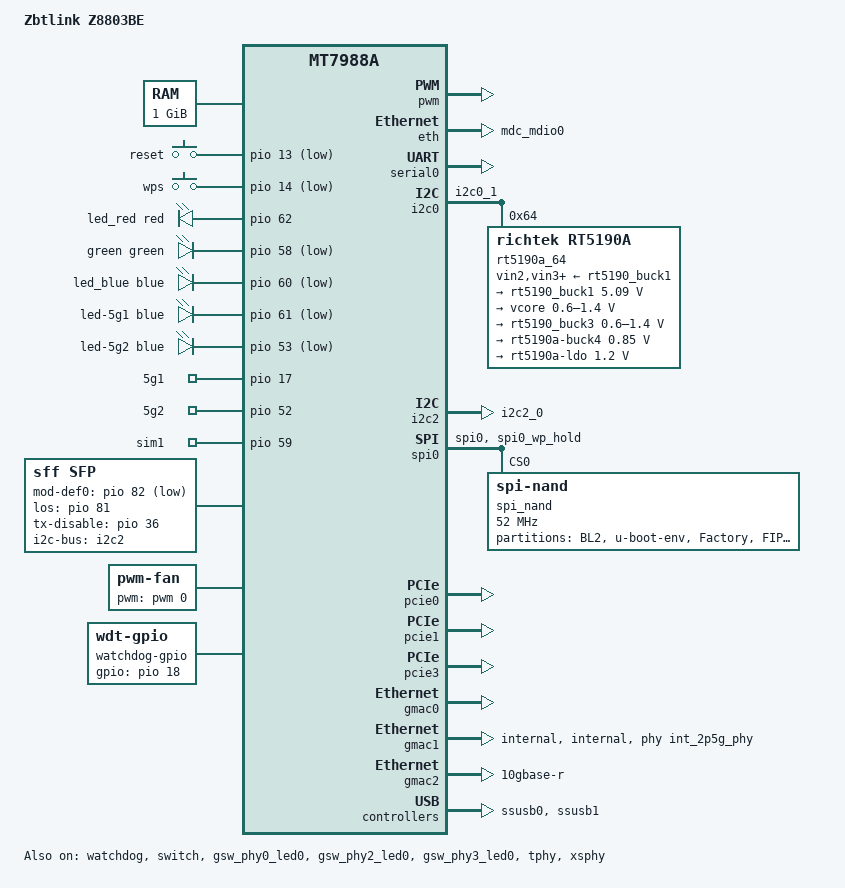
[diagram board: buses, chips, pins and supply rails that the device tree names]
// SPDX-License-Identifier: (GPL-2.0 OR MIT)

/dts-v1/;
#include "mt7988a.dtsi"
#include <dt-bindings/input/input.h>
#include <dt-bindings/gpio/gpio.h>
#include <dt-bindings/leds/common.h>
#include <dt-bindings/pinctrl/mt65xx.h>
#include <dt-bindings/regulator/richtek,rt5190a-regulator.h>

/ {
	model = "Zbtlink Z8803BE";
	compatible = "zbtlink,zbt-z8803be", "mediatek,mt7988a";

	chosen {
		bootargs = "console=ttyS0,115200n1 earlycon=uart8250,mmio32,0x11000000 pci=pcie_bus_perf";
	};

	aliases {
		led-boot = &led_blue;
		led-failsafe = &led_red;
		led-running = &led_blue;
		led-upgrade = &led_blue;
		label-mac-device = &gmac0;
	};

	memory@40000000 {
		device_type = "memory";
		reg = <0 0x40000000 0 0x40000000>;
	};

	gpio-keys {
		compatible = "gpio-keys";

		reset {
			label = "reset";
			linux,code = <KEY_RESTART>;
			gpios = <&pio 13 GPIO_ACTIVE_LOW>;
		};

		wps {
			label = "wps";
			linux,code = <KEY_WPS_BUTTON>;
			gpios = <&pio 14 GPIO_ACTIVE_LOW>;
		};
	};

	gpio-leds {
		compatible = "gpio-leds";

		led_red: red {
			color = <LED_COLOR_ID_RED>;
			function = LED_FUNCTION_STATUS;
			gpios = <&pio 62 GPIO_ACTIVE_HIGH>;
			default-state = "off";
		};

		green {
			color = <LED_COLOR_ID_GREEN>;
			function = LED_FUNCTION_WAN;
			gpios = <&pio 58 GPIO_ACTIVE_LOW>;
			default-state = "off";
		};

		led_blue: blue {
			color = <LED_COLOR_ID_BLUE>;
			function = LED_FUNCTION_POWER;
			gpios = <&pio 60 GPIO_ACTIVE_LOW>;
			linux,default-trigger = "default-on";
		};

		/*
		 * Front-panel cellular status LEDs. Front-panel silk screens
		 * read "5G1" and "5G2", matching the two M.2 Key-B modem slots.
		 * LEDs are active-low and left at "off" by default; the kernel's
		 * netdev trigger (wired up from hotplug/net on the modem
		 * interface) turns them solid on link and blinks on traffic.
		 */
		led-5g1 {
			color = <LED_COLOR_ID_BLUE>;
			function = LED_FUNCTION_MOBILE;
			function-enumerator = <1>;
			gpios = <&pio 61 GPIO_ACTIVE_LOW>;
			default-state = "off";
		};

		led-5g2 {
			color = <LED_COLOR_ID_BLUE>;
			function = LED_FUNCTION_MOBILE;
			function-enumerator = <2>;
			gpios = <&pio 53 GPIO_ACTIVE_LOW>;
			default-state = "off";
		};
	};

	gpio-export {
		compatible = "gpio-export";
		#size-cells = <0>;

		/*
		 * The two M.2 Key-B modem slots (front-panel labels "5G1" /
		 * "5G2") get their Vbat from a board-side power-enable that the
		 * SoC drives on GPIO17 / GPIO52. The pin is active-high; left at
		 * 0 the slot is dead and any modem inserted into it never
		 * enumerates on USB. Default both modem slots to powered-off for
		 * the 3FL wired-WAN deployment. Pre-flash power state is irrelevant: u-boot
		 * doesn't drive these pins.
		 *
		 * GPIO names match the front-panel silk so `/sys/class/gpio/5g1`
		 * and the matching mobile LED nodes stay in lockstep for
		 * userspace tooling (qmodem modem-slot, LuCI "Switches" panel,
		 * hotplug-driven LED wiring).
		 */
		modem0 {
			gpio-export,name = "5g1";
			gpio-export,output = <0>;
			gpios = <&pio 17 GPIO_ACTIVE_HIGH>;
		};
		modem1 {
			gpio-export,name = "5g2";
			gpio-export,output = <0>;
			gpios = <&pio 52 GPIO_ACTIVE_HIGH>;
		};
		/*
		 * On-board SIM mux. The Z8803BE has two physical SIM card
		 * holders (front-panel silk "SIM1" / "SIM2") but only one is
		 * routed to the active modem at any given time. GPIO 59 picks:
		 *   value 1 -> SIM1 card routed through (default, matches the
		 *              vendor's factory wiring and most single-SIM
		 *              deployments)
		 *   value 0 -> SIM2 card routed through
		 * Named "sim1" after the default-selected holder so the sysfs
		 * node (/sys/class/gpio/sim1) matches the LuCI Switches label
		 * exposed by board.d/03_gpio_switches.
		 */
		sim {
			gpio-export,name = "sim1";
			gpio-export,output = <1>;
			gpios = <&pio 59 GPIO_ACTIVE_HIGH>;
		};
	};

	sfp: sfp@0 {
		compatible = "sff,sfp";
		i2c-bus = <&i2c2>;
		mod-def0-gpios = <&pio 82 GPIO_ACTIVE_LOW>;
		los-gpios = <&pio 81 GPIO_ACTIVE_HIGH>;
		tx-disable-gpios = <&pio 36 GPIO_ACTIVE_HIGH>;
		maximum-power-milliwatt = <3000>;
	};

	fan: pwm-fan {
		compatible = "pwm-fan";
		#cooling-cells = <2>;
		cooling-levels = <0 60 80 112 144 176 216 255>;
		pwms = <&pwm 0 10000 0>;
		status = "okay";
	};

	watchdog-gpio {
		compatible = "linux,wdt-gpio";
		gpios = <&pio 18 GPIO_ACTIVE_HIGH>;
		hw_algo = "toggle";
		hw_margin_ms = <60000>;
		always-running;
		status = "okay";
	};
};

&cpu0 {
	proc-supply = <&rt5190_buck3>;
};

&cpu1 {
	proc-supply = <&rt5190_buck3>;
};

&cpu2 {
	proc-supply = <&rt5190_buck3>;
};

&cpu3 {
	proc-supply = <&rt5190_buck3>;
};

&cci {
	proc-supply = <&rt5190_buck3>;
};

&pwm {
	status = "okay";
};

&eth {
	pinctrl-names = "default";
	pinctrl-0 = <&mdio0_pins>;
	status = "okay";
};

&watchdog {
	status = "okay";
};

&serial0 {
	status = "okay";
};

&i2c1 {
	status = "disabled";
};

&i2c0 {
	pinctrl-names = "default";
	pinctrl-0 = <&i2c0_pins>;
	status = "okay";

	rt5190a_64: rt5190a@64 {
		compatible = "richtek,rt5190a";
		reg = <0x64>;
		vin2-supply = <&rt5190_buck1>;
		vin3-supply = <&rt5190_buck1>;
		vin4-supply = <&rt5190_buck1>;

		regulators {
			rt5190_buck1: buck1 {
				regulator-name = "rt5190a-buck1";
				regulator-min-microvolt = <5090000>;
				regulator-max-microvolt = <5090000>;
				regulator-allowed-modes =
					<RT5190A_OPMODE_AUTO RT5190A_OPMODE_FPWM>;
				regulator-boot-on;
				regulator-always-on;
			};

			buck2 {
				regulator-name = "vcore";
				regulator-min-microvolt = <600000>;
				regulator-max-microvolt = <1400000>;
				regulator-boot-on;
				regulator-always-on;
			};

			rt5190_buck3: buck3 {
				regulator-name = "vproc";
				regulator-min-microvolt = <600000>;
				regulator-max-microvolt = <1400000>;
				regulator-boot-on;
			};

			buck4 {
				regulator-name = "rt5190a-buck4";
				regulator-min-microvolt = <850000>;
				regulator-max-microvolt = <850000>;
				regulator-allowed-modes =
					<RT5190A_OPMODE_AUTO RT5190A_OPMODE_FPWM>;
				regulator-boot-on;
				regulator-always-on;
			};

			ldo {
				regulator-name = "rt5190a-ldo";
				regulator-min-microvolt = <1200000>;
				regulator-max-microvolt = <1200000>;
				regulator-boot-on;
				regulator-always-on;
			};
		};
	};
};

&i2c2 {
	pinctrl-names = "default";
	pinctrl-0 = <&i2c2_0_pins>;
	status = "okay";
};

&spi0 {
	pinctrl-names = "default";
	pinctrl-0 = <&spi0_flash_pins>;
	status = "okay";

	spi_nand: spi_nand@0 {
		compatible = "spi-nand";
		reg = <0>;
		spi-max-frequency = <52000000>;
		spi-tx-bus-width = <4>;
		spi-rx-bus-width = <4>;
		mediatek,nmbm;
		mediatek,bmt-max-ratio = <1>;
		mediatek,bmt-max-reserved-blocks = <64>;
	};
};

&spi_nand {
	partitions {
		compatible = "fixed-partitions";
		#address-cells = <1>;
		#size-cells = <1>;

		partition@0 {
			label = "BL2";
			reg = <0x00000 0x0100000>;
			read-only;
		};

		partition@100000 {
			label = "u-boot-env";
			reg = <0x100000 0x80000>;
		};

		factory: partition@180000 {
			label = "Factory";
			reg = <0x180000 0x400000>;
			nvmem-layout {
				compatible = "fixed-layout";
				#address-cells = <1>;
				#size-cells = <1>;

				eeprom_factory_0: eeprom@0 {
					reg = <0x0 0x1e00>;
				};

				gmac0_mac: eeprom@ffff4 {
					reg = <0xffff4 0x6>;
				};

				gmac1_mac: eeprom@ffffa {
					reg = <0xffffa 0x6>;
				};

				gmac2_mac: eeprom@fffee {
					reg = <0xfffee 0x6>;
				};
			};
		};

		partition@580000 {
			label = "FIP";
			reg = <0x580000 0x200000>;
		};

		partition@780000 {
			label = "ubi";
			reg = <0x780000 0x7080000>;
			compatible = "linux,ubi";

			volumes {
				ubi_rootfs: ubi-volume-fit {
					volname = "firmware";
				};
			};
		};
	};
};

&pcie0 {
	status = "okay";

	pcie@0,0 {
		reg = <0x0000 0 0 0 0>;
		#address-cells = <3>;
		#size-cells = <2>;

		mt7996@0,0 {
			reg = <0x0000 0 0 0 0>;
			nvmem-cell-names = "eeprom";
			nvmem-cells = <&eeprom_factory_0>;
		};
	};
};

&pcie1 {
	status = "okay";
};

&pcie3 {
	status = "okay";

	/*
	 * The MediaTek Gen3 PCIe driver handles wifi-reset-gpios.
	 * Keep it on &pcie3, NOT on &pcie0 where the MT7996 endpoint is
	 * enumerated.
	 *
	 * On MT7988A the PCIe controllers are at:
	 *   pcie2 @ 0x11280000   (disabled on this board)
	 *   pcie3 @ 0x11290000   <-- probes BEFORE pcie0 (lower address)
	 *   pcie0 @ 0x11300000   (hosts the MT7996 endpoint)
	 *   pcie1 @ 0x11310000
	 *
	 * The reset GPIO must fire during pcie3 init so that the MT7996 is
	 * out of reset by the time pcie0 later probes and enumerates it.
	 * Moving this line to &pcie0 (as done by other MT7988A boards such
	 * as mt7988d-keenetic-kn-1812.dtsi) causes MT7996 enumeration to
	 * race the reset on this board and the radio fails to train.
	 */
	wifi-reset-gpios = <&pio 7 GPIO_ACTIVE_LOW>;
	wifi-reset-msleep = <100>;
};

&gmac0 {
	nvmem-cell-names = "mac-address";
	nvmem-cells = <&gmac0_mac>;
	status = "okay";
};

&gmac1 {
	phy-mode = "internal";
	phy-connection-type = "internal";
	phy = <&int_2p5g_phy>;
	nvmem-cell-names = "mac-address";
	nvmem-cells = <&gmac1_mac>;
	status = "okay";
};

&gmac2 {
	sfp = <&sfp>;
	managed = "in-band-status";
	phy-mode = "10gbase-r";
	nvmem-cell-names = "mac-address";
	nvmem-cells = <&gmac2_mac>;
	status = "okay";
};

&int_2p5g_phy {
	pinctrl-names = "i2p5gbe-led";
	pinctrl-0 = <&i2p5gbe_led0_pins>;
};

&switch {
	status = "okay";
};

&gsw_phy0 {
	pinctrl-names = "gbe-led";
	pinctrl-0 = <&gbe0_led0_pins>;
};

&gsw_phy0_led0 {
	color = <LED_COLOR_ID_GREEN>;
	function = LED_FUNCTION_LAN;
	status = "okay";
};

&gsw_port0 {
	label = "lan0";
};

&gsw_phy1 {
	status = "disabled";
};

&gsw_phy1_led0 {
	status = "disabled";
};

&gsw_port1 {
	status = "disabled";
};

&gsw_port2 {
	label = "lan1";
};

&gsw_phy2 {
	pinctrl-names = "gbe-led";
	pinctrl-0 = <&gbe2_led0_pins>;
};

&gsw_phy2_led0 {
	color = <LED_COLOR_ID_GREEN>;
	function = LED_FUNCTION_LAN;
	status = "okay";
};

&gsw_port3 {
	label = "lan2";
};

&gsw_phy3 {
	pinctrl-names = "gbe-led";
	pinctrl-0 = <&gbe3_led0_pins>;
};

&gsw_phy3_led0 {
	color = <LED_COLOR_ID_GREEN>;
	function = LED_FUNCTION_LAN;
	status = "okay";
};

&pio {
	mdio0_pins: mdio0-pins {
		mux {
			function = "eth";
			groups = "mdc_mdio0";
		};

		conf {
			groups = "mdc_mdio0";
			drive-strength = <MTK_DRIVE_8mA>;
		};
	};

	gbe0_led0_pins: gbe0-led0-pins {
		mux {
			function = "led";
			groups = "gbe0_led0";
		};
	};

	gbe2_led0_pins: gbe2-led0-pins {
		mux {
			function = "led";
			groups = "gbe2_led0";
		};
	};

	gbe3_led0_pins: gbe3-led0-pins {
		mux {
			function = "led";
			groups = "gbe3_led0";
		};
	};

	i2c0_pins: i2c0-g0-pins {
		mux {
			function = "i2c";
			groups = "i2c0_1";
		};
	};

	i2c2_0_pins: i2c2-g0-pins {
		mux {
			function = "i2c";
			groups = "i2c2_0";
		};
	};

	i2p5gbe_led0_pins: 2p5gbe-led0-pins {
		mux {
			function = "led";
			groups = "2p5gbe_led0";
		};
	};

	spi0_flash_pins: spi0-flash-pins {
		mux {
			function = "spi";
			groups = "spi0", "spi0_wp_hold";
		};
	};
};

&ssusb0 {
	status = "okay";
};

&ssusb1 {
	status = "okay";
};

&tphy {
	status = "okay";
};

&xsphy {
	status = "okay";
};

&cpu_thermal {
	/delete-node/cooling-maps;
	/delete-node/trips;

	trips {
		cpu_trip_crit: crit {
			temperature = <100000>;
			hysteresis = <2000>;
			type = "critical";
		};

		cpu_trip_active_max: active-max {
			/* level 7: PWM 255 = 100% */
			temperature = <80000>;
			hysteresis = <2000>;
			type = "active";
		};

		cpu_trip_active_high2: active-high2 {
			/* level 6: PWM 216 = 85% */
			temperature = <76000>;
			hysteresis = <2000>;
			type = "active";
		};

		cpu_trip_active_high: active-high {
			/* level 5: PWM 176 = 69% */
			temperature = <72000>;
			hysteresis = <2000>;
			type = "active";
		};

		cpu_trip_active_mid: active-mid {
			/* level 4: PWM 144 = 56% */
			temperature = <66000>;
			hysteresis = <2000>;
			type = "active";
		};

		cpu_trip_active_low: active-low {
			/* level 3: PWM 112 = 44% */
			temperature = <60000>;
			hysteresis = <2000>;
			type = "active";
		};

		cpu_trip_active_silent: active-silent {
			/* level 2: PWM 80 = 31% */
			temperature = <42000>;
			hysteresis = <2000>;
			type = "active";
		};

		cpu_trip_active_whisper: active-whisper {
			/* level 1: PWM 60 = 24% */
			temperature = <36000>;
			hysteresis = <2000>;
			type = "active";
		};
	};

	cooling-maps {
		cpu-active-max {
			/* level 7: PWM 255 = 100% at 80°C */
			cooling-device = <&fan 7 7>;
			trip = <&cpu_trip_active_max>;
		};

		cpu-active-high2 {
			/* level 6: PWM 216 = 85% at 76°C */
			cooling-device = <&fan 6 6>;
			trip = <&cpu_trip_active_high2>;
		};

		cpu-active-high {
			/* level 5: PWM 176 = 69% at 72°C */
			cooling-device = <&fan 5 5>;
			trip = <&cpu_trip_active_high>;
		};

		cpu-active-mid {
			/* level 4: PWM 144 = 56% at 66°C */
			cooling-device = <&fan 4 4>;
			trip = <&cpu_trip_active_mid>;
		};

		cpu-active-low {
			/* level 3: PWM 112 = 44% at 60°C */
			cooling-device = <&fan 3 3>;
			trip = <&cpu_trip_active_low>;
		};

		cpu-active-silent {
			/* level 2: PWM 80 = 31% at 42°C */
			cooling-device = <&fan 2 2>;
			trip = <&cpu_trip_active_silent>;
		};

		cpu-active-whisper {
			/* level 1: PWM 60 = 24% at 36°C */
			cooling-device = <&fan 1 1>;
			trip = <&cpu_trip_active_whisper>;
		};
	};
};

